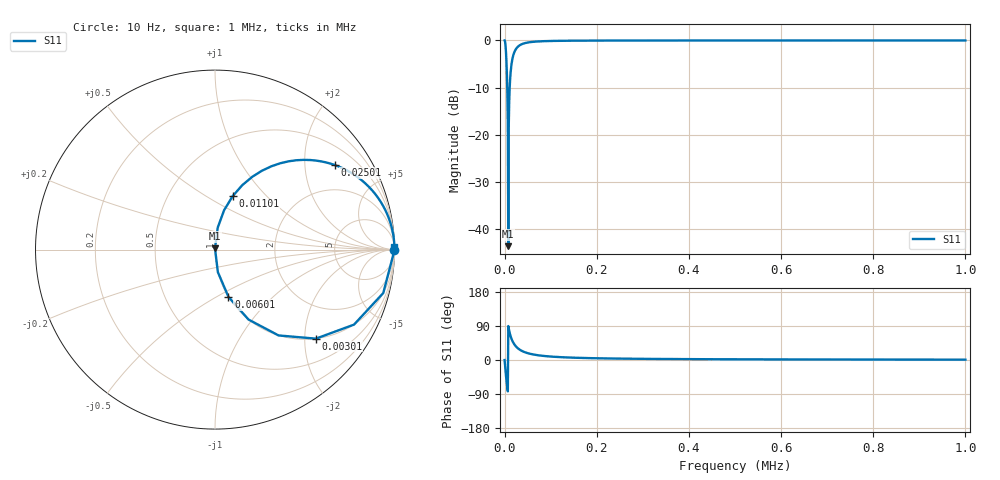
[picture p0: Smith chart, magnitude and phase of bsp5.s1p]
! AWR Design Environment (7670) Wed Feb 10 14:54:52 2016
! Document = 'bsp5'
! nPorts: 1, nXvals: 1001
# HZ Z RI R 50
!Freq ReZ11 ImZ11
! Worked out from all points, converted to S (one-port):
!   1001 points, 10 Hz to 1 MHz, reference 50 ohm
!   lowest |S11| = -43.7 dB at 8.01 kHz (marker M1), VSWR 1.01, Z = 50 + j0.654 ohm
!   |S11| at or under -10 dB: 5.693 kHz to 11.05 kHz (5.353 kHz wide, 64 % of centre)
!   S11 on the Smith chart (normalised r, x): 10 Hz: open; 3.01 kHz: 1.00, -2.27; 6.01 kHz: 1.00, -0.57; 11.01 kHz: 1.00, +0.66; 25.01 kHz: 1.00, +2.82; 1 MHz: open
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10  1 -795.8
1010  1 -7.752
2010  1 -3.706
3010  1 -2.266
4010  1 -1.481
6010  1 -0.5688
8010  1 0.0131
9010  1 0.249
11010  1 0.6608
12010  1 0.8466
13010  1 1.023
14010  1 1.193
16010  1 1.515
20010  1 2.117
25010  1 2.825
30010  1 3.506
36010  1 4.304
43010  1 5.22
52010  1 6.383
82010  1 10.21
125010  1 15.65
250010  1 31.39
375010  1 47.1
500010  1 62.82
625010  1 78.53
750010  1 94.24
875010  1 109.9
1000000  1 125.7
